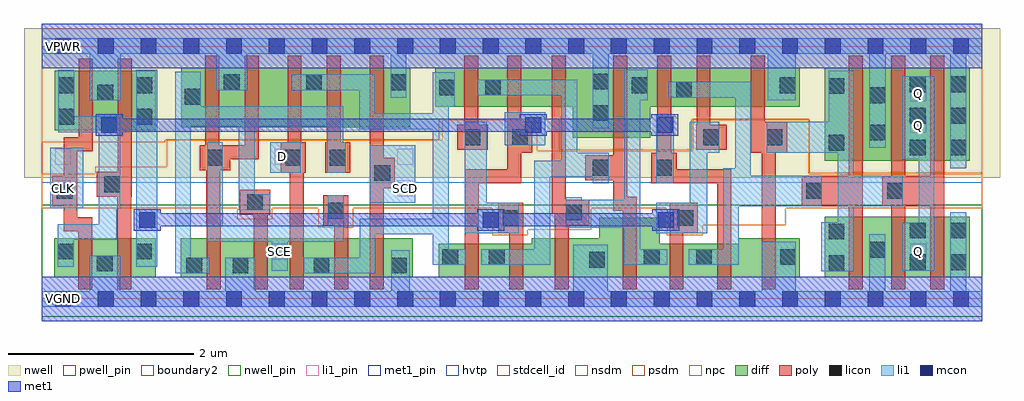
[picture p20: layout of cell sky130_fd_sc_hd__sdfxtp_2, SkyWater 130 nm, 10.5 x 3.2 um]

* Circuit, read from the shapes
.subckt sky130_fd_sc_hd__sdfxtp_2 CLK D Q SCD SCE VGND VNB VPB VPWR
XM1 VGND CLK n1 VNB sky130_fd_pr__nfet_01v8 w=0.42 l=0.15
XM2 n2 n1 VGND VNB sky130_fd_pr__nfet_01v8 w=0.42 l=0.15
XM3 VGND SCE n3 VNB sky130_fd_pr__nfet_01v8 w=0.42 l=0.15
XM4 n4 n3 VGND VNB sky130_fd_pr__nfet_01v8 w=0.42 l=0.15
XM5 n5 D n4 VNB sky130_fd_pr__nfet_01v8 w=0.42 l=0.15
XM6 n6 SCE n5 VNB sky130_fd_pr__nfet_01v8 w=0.42 l=0.15
XM7 VGND SCD n6 VNB sky130_fd_pr__nfet_01v8 w=0.42 l=0.15
XM8 n7 n1 n5 VNB sky130_fd_pr__nfet_01v8 w=0.36 l=0.15
XM9 n8 n2 n7 VNB sky130_fd_pr__nfet_01v8 w=0.36 l=0.15
XM10 VGND n9 n8 VNB sky130_fd_pr__nfet_01v8 w=0.42 l=0.15
XM11 n9 n7 VGND VNB sky130_fd_pr__nfet_01v8 w=0.64 l=0.15
XM12 n10 n2 n9 VNB sky130_fd_pr__nfet_01v8 w=0.36 l=0.15
XM13 n11 n1 n10 VNB sky130_fd_pr__nfet_01v8 w=0.36 l=0.15
XM14 VGND n12 n11 VNB sky130_fd_pr__nfet_01v8 w=0.42 l=0.15
XM15 VGND n10 n12 VNB sky130_fd_pr__nfet_01v8 w=0.65 l=0.15
XM16 Q n12 VGND VNB sky130_fd_pr__nfet_01v8 w=0.65 l=0.15 m=2
XM17 VPWR CLK n1 VPB sky130_fd_pr__pfet_01v8_hvt w=0.64 l=0.15
XM18 n2 n1 VPWR VPB sky130_fd_pr__pfet_01v8_hvt w=0.64 l=0.15
XM19 VPWR SCE n3 VPB sky130_fd_pr__pfet_01v8_hvt w=0.64 l=0.15
XM20 n13 SCE VPWR VPB sky130_fd_pr__pfet_01v8_hvt w=0.64 l=0.15
XM21 n5 D n13 VPB sky130_fd_pr__pfet_01v8_hvt w=0.64 l=0.15
XM22 n14 n3 n5 VPB sky130_fd_pr__pfet_01v8_hvt w=0.64 l=0.15
XM23 VPWR SCD n14 VPB sky130_fd_pr__pfet_01v8_hvt w=0.64 l=0.15
XM24 n7 n2 n5 VPB sky130_fd_pr__pfet_01v8_hvt w=0.42 l=0.15
XM25 n15 n1 n7 VPB sky130_fd_pr__pfet_01v8_hvt w=0.42 l=0.15
XM26 VPWR n9 n15 VPB sky130_fd_pr__pfet_01v8_hvt w=0.42 l=0.15
XM27 n9 n7 VPWR VPB sky130_fd_pr__pfet_01v8_hvt w=0.75 l=0.15
XM28 n10 n1 n9 VPB sky130_fd_pr__pfet_01v8_hvt w=0.42 l=0.15
XM29 n16 n2 n10 VPB sky130_fd_pr__pfet_01v8_hvt w=0.42 l=0.15
XM30 VPWR n12 n16 VPB sky130_fd_pr__pfet_01v8_hvt w=0.42 l=0.15
XM31 VPWR n10 n12 VPB sky130_fd_pr__pfet_01v8_hvt w=1 l=0.15
XM32 Q n12 VPWR VPB sky130_fd_pr__pfet_01v8_hvt w=1 l=0.15 m=2
.ends

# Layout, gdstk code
import gdstk
lib = gdstk.Library(unit=1e-6, precision=1e-09)
def R(c, l, rs):  # rectangles x0, y0, x1, y1
    for r in rs: c.add(gdstk.rectangle(r[:2], r[2:], *l))
def A(c, l, x, y, w, h, nx, ny, dx, dy):  # array of equal rectangles
    R(c, l, [(x+i*dx, y+j*dy, x+i*dx+w, y+j*dy+h) for i in range(nx) for j in range(ny)])
def P(c, l, *ps):  # polygons
    for p in ps: c.add(gdstk.Polygon(p, *l))
nwell_pin = (64, 16)
nwell = (64, 20)
diff = (65, 20)
poly = (66, 20)
licon = (66, 44)
li1_pin = (67, 16)
li1 = (67, 20)
mcon = (67, 44)
met1_pin = (68, 16)
met1 = (68, 20)
hvtp = (78, 44)
stdcell_id = (81, 4)
nsdm = (93, 44)
psdm = (94, 20)
npc = (95, 20)
pwell_pin = (122, 16)
boundary2 = (236, 0)

sky130_fd_sc_hd__sdfxtp_ = lib.new_cell('sky130_fd_sc_hd__sdfxtp_2')
R(sky130_fd_sc_hd__sdfxtp_, nwell_pin, [(0.145,2.635,0.315,2.805), (0.145,2.635,0.315,2.805)])
R(sky130_fd_sc_hd__sdfxtp_, nwell, [(-0.19,1.305,10.31,2.91)])
R(sky130_fd_sc_hd__sdfxtp_, diff, [(0.135,0.235,1.225,0.655), (1.495,0.235,3.99,0.655), (8.425,0.235,9.985,0.885), (8.425,1.485,9.985,2.485), (0.14,1.815,1.23,2.455), (1.5,1.845,3.965,2.485)])
P(sky130_fd_sc_hd__sdfxtp_, diff, [(8.155,2.485),(4.235,2.485),(4.235,2.065),(5.715,2.065),(5.715,1.735),(6.55,1.735),(6.55,2.065),(8.155,2.065)],
  [(8.155,0.655),(7.495,0.655),(7.495,0.595),(6.65,0.595),(6.65,0.875),(6,0.875),(6,0.655),(5.27,0.655),(5.27,0.595),(4.27,0.595),(4.27,0.235),(8.155,0.235)])
P(sky130_fd_sc_hd__sdfxtp_, poly, [(0.55,2.585),(0.4,2.585),(0.4,1.74),(0.235,1.74),(0.235,1.325),(0.115,1.325),(0.115,0.995),(0.235,0.995),(0.235,0.73),(0.395,0.73),(0.395,0.105),(0.545,0.105),(0.545,0.88),(0.385,0.88),(0.385,1.59),(0.55,1.59)],
  [(0.97,2.585),(0.82,2.585),(0.82,1.37),(0.595,1.37),(0.595,1.1),(0.815,1.1),(0.815,0.105),(0.965,0.105),(0.965,1.1),(0.97,1.1)],
  [(2.335,2.615),(2.185,2.615),(2.185,1.655),(1.91,1.655),(1.91,2.615),(1.76,2.615),(1.76,1.655),(1.7,1.655),(1.7,1.385),(1.77,1.385),(1.77,0.785),(1.775,0.785),(1.775,0.105),(1.925,0.105),(1.925,0.83),(1.92,0.83),(1.92,1.385),(2.03,1.385),(2.03,1.505),(2.335,1.505)],
  [(2.46,1.175),(2.13,1.175),(2.13,0.905),(2.28,0.905),(2.28,0.105),(2.43,0.105),(2.43,0.905),(2.46,0.905)],
  [(2.84,1.685),(2.795,1.685),(2.795,2.615),(2.645,2.615),(2.645,1.685),(2.57,1.685),(2.57,1.355),(2.67,1.355),(2.67,0.105),(2.82,0.105),(2.82,1.355),(2.84,1.355)],
  [(3.3,1.115),(3.03,1.115),(3.03,0.785),(3.15,0.785),(3.15,0.105),(3.3,0.105)],
  [(3.32,1.685),(3.215,1.685),(3.215,2.615),(3.065,2.615),(3.065,1.685),(3.05,1.685),(3.05,1.355),(3.32,1.355)],
  [(3.8,1.52),(3.68,1.52),(3.68,2.615),(3.53,2.615),(3.53,0.105),(3.68,0.105),(3.68,1.19),(3.8,1.19)],
  [(4.8,1.875),(4.695,1.875),(4.695,2.615),(4.545,2.615),(4.545,1.875),(4.47,1.875),(4.47,1.605),(4.8,1.605)],
  [(5.18,1.035),(4.91,1.035),(4.91,0.705),(5.03,0.705),(5.03,0.105),(5.18,0.105)],
  [(5.28,1.905),(5.16,1.905),(5.16,2.615),(5.01,2.615),(5.01,1.395),(4.55,1.395),(4.55,0.105),(4.7,0.105),(4.7,1.245),(5.16,1.245),(5.16,1.575),(5.28,1.575)],
  [(5.89,1.065),(5.64,1.065),(5.64,2.615),(5.49,2.615),(5.49,0.915),(5.52,0.915),(5.52,0.105),(5.67,0.105),(5.67,0.795),(5.89,0.795)],
  [(6.4,1.1),(6.3,1.1),(6.3,2.615),(6.15,2.615),(6.15,1.545),(5.85,1.545),(5.85,1.275),(6.15,1.275),(6.15,0.95),(6.25,0.95),(6.25,0.105),(6.4,0.105)],
  [(7.06,1.035),(6.755,1.035),(6.755,0.105),(6.905,0.105),(6.905,0.705),(7.06,0.705)],
  [(7.37,1.875),(7.195,1.875),(7.195,2.615),(7.045,2.615),(7.045,1.875),(7.04,1.875),(7.04,1.605),(7.37,1.605)],
  [(8.835,2.615),(8.685,2.615),(8.685,1.325),(8.175,1.325),(8.175,0.995),(8.685,0.995),(8.685,0.105),(8.835,0.105)],
  [(7.42,1.395),(6.83,1.395),(6.83,1.575),(6.775,1.575),(6.775,2.615),(6.625,2.615),(6.625,1.575),(6.56,1.575),(6.56,1.245),(7.27,1.245),(7.27,0.105),(7.42,0.105)],
  [(8.02,1.905),(7.78,1.905),(7.78,2.615),(7.63,2.615),(7.63,1.575),(7.745,1.575),(7.745,0.105),(7.895,0.105),(7.895,1.575),(8.02,1.575)],
  [(9.71,2.615),(9.56,2.615),(9.56,1.325),(9.29,1.325),(9.29,2.615),(9.14,2.615),(9.14,1.325),(9.045,1.325),(9.045,0.995),(9.14,0.995),(9.14,0.105),(9.29,0.105),(9.29,0.995),(9.56,0.995),(9.56,0.105),(9.71,0.105)])
A(sky130_fd_sc_hd__sdfxtp_, licon, 9.34, 1.545, 0.17, 0.17, 1, 3, 0, 0.34)
A(sky130_fd_sc_hd__sdfxtp_, licon, 9.775, 1.545, 0.17, 0.17, 1, 3, 0, 0.34)
R(sky130_fd_sc_hd__sdfxtp_, licon, [(1.555,0.275,1.725,0.445), (2.055,0.275,2.225,0.445), (2.925,0.275,3.095,0.445), (3.76,0.275,3.93,0.445), (0.595,0.295,0.765,0.465), (8.465,0.3,8.635,0.47), (9.34,0.31,9.51,0.48), (9.775,0.31,9.945,0.48), (5.89,0.335,6.06,0.505), (4.31,0.365,4.48,0.535), (4.81,0.365,4.98,0.535), (6.48,0.365,6.65,0.535), (7.04,0.365,7.21,0.535), (7.945,0.365,8.115,0.535), (0.175,0.425,0.345,0.595), (1.015,0.425,1.185,0.595), (8.905,0.445,9.075,0.615), (8.465,0.64,8.635,0.81), (9.34,0.65,9.51,0.82), (9.775,0.65,9.945,0.82), (4.96,0.785,5.13,0.955), (6.84,0.785,7.01,0.955), (5.64,0.845,5.81,1.015), (3.08,0.865,3.25,1.035), (2.21,0.955,2.38,1.125), (0.165,1.075,0.335,1.245), (8.225,1.075,8.395,1.245), (9.095,1.075,9.265,1.245), (0.675,1.15,0.845,1.32), (3.58,1.27,3.75,1.44), (5.93,1.325,6.1,1.495), (6.61,1.325,6.78,1.495), (1.78,1.435,1.95,1.605), (2.62,1.435,2.79,1.605), (3.1,1.435,3.27,1.605), (8.465,1.595,8.635,1.765), (4.55,1.655,4.72,1.825), (5.06,1.655,5.23,1.825), (7.12,1.655,7.29,1.825), (7.8,1.655,7.97,1.825), (8.905,1.705,9.075,1.875), (0.18,1.875,0.35,2.045), (1.02,1.875,1.19,2.045), (5.93,1.915,6.1,2.085), (1.54,2.09,1.71,2.26), (8.905,2.105,9.075,2.275), (0.6,2.135,0.77,2.305), (6.825,2.165,6.995,2.335), (4.275,2.19,4.445,2.36), (4.77,2.19,4.94,2.36), (8.465,2.205,8.635,2.375), (0.18,2.215,0.35,2.385), (1.02,2.215,1.19,2.385), (6.35,2.215,6.52,2.385), (7.94,2.215,8.11,2.385), (1.96,2.245,2.13,2.415), (2.845,2.245,3.015,2.415), (3.755,2.245,3.925,2.415), (5.93,2.255,6.1,2.425)])
R(sky130_fd_sc_hd__sdfxtp_, li1_pin, [(2.475,0.425,2.645,0.595), (9.345,0.425,9.515,0.595), (0.145,1.105,0.315,1.275), (3.825,1.105,3.995,1.275), (0.145,1.445,0.315,1.615), (2.505,1.445,2.675,1.615), (3.825,1.445,3.995,1.615), (9.345,1.785,9.515,1.955), (9.345,2.125,9.515,2.295)])
R(sky130_fd_sc_hd__sdfxtp_, li1, [(0.095,0.975,0.445,1.625), (3.53,1.035,4.02,1.655), (6.61,1.245,6.8,1.965), (2.46,1.355,2.79,1.685), (4.98,1.655,5.42,2.01)])
P(sky130_fd_sc_hd__sdfxtp_, li1, [(0.845,1.965),(0.35,1.965),(0.35,2.465),(0.18,2.465),(0.18,1.795),(0.615,1.795),(0.615,0.805),(0.175,0.805),(0.175,0.345),(0.345,0.345),(0.345,0.635),(0.81,0.635),(0.81,0.97),(0.845,0.97)],
  [(1.245,2.465),(1.02,2.465),(1.02,0.715),(1.015,0.715),(1.015,0.345),(1.245,0.345)],
  [(3.25,1.115),(3.08,1.115),(3.08,0.785),(1.95,0.785),(1.95,1.685),(1.78,1.685),(1.78,0.615),(2.475,0.615),(2.475,0.305),(2.65,0.305),(2.65,0.615),(3.25,0.615)],
  [(3.27,1.685),(3.245,1.685),(3.245,2.075),(1.71,2.075),(1.71,2.445),(1.435,2.445),(1.435,0.275),(1.805,0.275),(1.805,0.445),(1.605,0.445),(1.605,1.86),(2.12,1.86),(2.12,0.955),(2.46,0.955),(2.46,1.125),(2.29,1.125),(2.29,1.86),(3.075,1.86),(3.075,1.355),(3.27,1.355)],
  [(4.56,0.535),(4.38,0.535),(4.38,2.065),(4.445,2.065),(4.445,2.44),(4.21,2.44),(4.21,1.995),(3.585,1.995),(3.585,2.415),(2.69,2.415),(2.69,2.245),(3.415,2.245),(3.415,1.825),(4.21,1.825),(4.21,0.865),(3.42,0.865),(3.42,0.445),(2.82,0.445),(2.82,0.275),(3.59,0.275),(3.59,0.695),(4.21,0.695),(4.21,0.365),(4.56,0.365)],
  [(5.13,1.035),(4.79,1.035),(4.79,1.905),(4.55,1.905),(4.55,0.705),(5.13,0.705)],
  [(6.1,1.575),(5.76,1.575),(5.76,2.36),(4.69,2.36),(4.69,2.19),(5.59,2.19),(5.59,1.485),(5.3,1.485),(5.3,0.535),(4.73,0.535),(4.73,0.365),(5.47,0.365),(5.47,1.315),(5.93,1.315),(5.93,1.245),(6.1,1.245)],
  [(6.73,0.535),(6.44,0.535),(6.44,2.135),(6.52,2.135),(6.52,2.465),(6.27,2.465),(6.27,1.065),(5.81,1.065),(5.81,1.095),(5.64,1.095),(5.64,0.765),(6.27,0.765),(6.27,0.365),(6.73,0.365)],
  [(7.29,1.905),(6.97,1.905),(6.97,1.035),(6.61,1.035),(6.61,0.705),(7.16,0.705),(7.16,1.575),(7.29,1.575)],
  [(8.395,1.325),(7.63,1.325),(7.63,2.335),(6.745,2.335),(6.745,2.165),(7.46,2.165),(7.46,1.405),(7.33,1.405),(7.33,0.535),(6.96,0.535),(6.96,0.365),(7.5,0.365),(7.5,0.995),(8.395,0.995)],
  [(9.265,1.325),(8.735,1.325),(8.735,2.455),(8.465,2.455),(8.465,1.905),(7.8,1.905),(7.8,1.575),(8.565,1.575),(8.565,0.825),(8.385,0.825),(8.385,0.3),(8.735,0.3),(8.735,0.995),(9.265,0.995)],
  [(9.605,2.395),(9.26,2.395),(9.26,1.505),(9.435,1.505),(9.435,0.82),(9.26,0.82),(9.26,0.305),(9.605,0.305)],
  [(10.12,2.805),(0,2.805),(0,2.635),(0.52,2.635),(0.52,2.135),(0.85,2.135),(0.85,2.635),(1.88,2.635),(1.88,2.245),(2.21,2.245),(2.21,2.635),(3.755,2.635),(3.755,2.165),(3.925,2.165),(3.925,2.635),(5.93,2.635),(5.93,1.835),(6.1,1.835),(6.1,2.635),(7.81,2.635),(7.81,2.135),(8.115,2.135),(8.115,2.635),(8.905,2.635),(8.905,1.625),(9.08,1.625),(9.08,2.635),(9.775,2.635),(9.775,1.405),(9.945,1.405),(9.945,2.635),(10.12,2.635)],
  [(10.12,0.085),(9.945,0.085),(9.945,0.93),(9.775,0.93),(9.775,0.085),(9.075,0.085),(9.075,0.695),(8.905,0.695),(8.905,0.085),(8.115,0.085),(8.115,0.615),(7.745,0.615),(7.745,0.085),(6.09,0.085),(6.09,0.585),(5.72,0.585),(5.72,0.085),(3.96,0.085),(3.96,0.525),(3.76,0.525),(3.76,0.085),(2.305,0.085),(2.305,0.445),(1.975,0.445),(1.975,0.085),(0.845,0.085),(0.845,0.465),(0.515,0.465),(0.515,0.085),(0,0.085),(0,-0.085),(10.12,-0.085)])
A(sky130_fd_sc_hd__sdfxtp_, mcon, 0.145, -0.085, 0.17, 0.17, 22, 2, 0.46, 2.72)
R(sky130_fd_sc_hd__sdfxtp_, mcon, [(1.05,0.765,1.22,0.935), (4.745,0.765,4.915,0.935), (6.63,0.765,6.8,0.935), (0.64,1.785,0.81,1.955), (5.205,1.785,5.375,1.955), (6.62,1.785,6.79,1.955)])
R(sky130_fd_sc_hd__sdfxtp_, met1_pin, [(0.145,-0.085,0.315,0.085), (0.145,2.635,0.315,2.805)])
P(sky130_fd_sc_hd__sdfxtp_, met1, [(6.86,0.965),(6.57,0.965),(6.57,0.92),(4.975,0.92),(4.975,0.965),(4.685,0.965),(4.685,0.92),(1.28,0.92),(1.28,0.965),(0.99,0.965),(0.99,0.735),(1.28,0.735),(1.28,0.78),(4.685,0.78),(4.685,0.735),(4.975,0.735),(4.975,0.78),(6.57,0.78),(6.57,0.735),(6.86,0.735)],
  [(6.85,1.985),(6.56,1.985),(6.56,1.94),(5.435,1.94),(5.435,1.985),(5.145,1.985),(5.145,1.94),(0.87,1.94),(0.87,1.985),(0.58,1.985),(0.58,1.755),(0.87,1.755),(0.87,1.8),(5.145,1.8),(5.145,1.755),(5.435,1.755),(5.435,1.8),(6.56,1.8),(6.56,1.755),(6.85,1.755)])
R(sky130_fd_sc_hd__sdfxtp_, hvtp, [(0,1.25,10.12,2.72)])
R(sky130_fd_sc_hd__sdfxtp_, stdcell_id, [(0,0,10.12,2.72)])
R(sky130_fd_sc_hd__sdfxtp_, nsdm, [(0,-0.19,10.12,1.015)])
P(sky130_fd_sc_hd__sdfxtp_, psdm, [(10.12,2.91),(0,2.91),(0,1.685),(1.33,1.685),(1.33,1.715),(4.28,1.715),(4.28,1.935),(5.57,1.935),(5.57,1.605),(6.995,1.605),(6.995,1.935),(8.26,1.935),(8.26,1.355),(10.12,1.355)])
P(sky130_fd_sc_hd__sdfxtp_, npc, [(10.12,1.345),(8.25,1.345),(8.25,1.925),(7.005,1.925),(7.005,1.595),(5.33,1.595),(5.33,1.925),(4.31,1.925),(4.31,1.705),(1.345,1.705),(1.345,1.42),(0.575,1.42),(0.575,1.345),(0,1.345),(0,0.975),(2.105,0.975),(2.105,0.855),(2.48,0.855),(2.48,0.975),(2.975,0.975),(2.975,0.765),(3.35,0.765),(3.35,0.975),(4.845,0.975),(4.845,0.685),(5.23,0.685),(5.23,0.745),(5.91,0.745),(5.91,0.975),(6.725,0.975),(6.725,0.685),(7.11,0.685),(7.11,0.795),(8.005,0.795),(8.005,0.975),(10.12,0.975)])
R(sky130_fd_sc_hd__sdfxtp_, pwell_pin, [(0.145,-0.085,0.315,0.085), (0.145,-0.085,0.315,0.085)])
R(sky130_fd_sc_hd__sdfxtp_, boundary2, [(0,0,10.12,2.72)])
sky130_fd_sc_hd__sdfxtp_.add(gdstk.FlexPath([(0,2.72),(10.12,2.72)], 0.48, ends="flush", simple_path=True, layer=68, datatype=20))  # met1
sky130_fd_sc_hd__sdfxtp_.add(gdstk.FlexPath([(0,0),(10.12,0)], 0.48, ends="flush", simple_path=True, layer=68, datatype=20))  # met1
sky130_fd_sc_hd__sdfxtp_.add(gdstk.Label('VGND', (0.23,0), layer=68, texttype=5))
sky130_fd_sc_hd__sdfxtp_.add(gdstk.Label('VPWR', (0.23,2.72), layer=68, texttype=5))
sky130_fd_sc_hd__sdfxtp_.add(gdstk.Label('SCD', (3.91,1.19), layer=67, texttype=5))
sky130_fd_sc_hd__sdfxtp_.add(gdstk.Label('D', (2.59,1.53), layer=67, texttype=5))
sky130_fd_sc_hd__sdfxtp_.add(gdstk.Label('SCE', (2.56,0.51), layer=67, texttype=5))
sky130_fd_sc_hd__sdfxtp_.add(gdstk.Label('CLK', (0.23,1.19), layer=67, texttype=5))
sky130_fd_sc_hd__sdfxtp_.add(gdstk.Label('Q', (9.43,0.51), layer=67, texttype=5))
sky130_fd_sc_hd__sdfxtp_.add(gdstk.Label('Q', (9.43,1.87), layer=67, texttype=5))
sky130_fd_sc_hd__sdfxtp_.add(gdstk.Label('Q', (9.43,2.21), layer=67, texttype=5))
sky130_fd_sc_hd__sdfxtp_.add(gdstk.Label('VNB', (0.23,0), layer=64, texttype=59))
sky130_fd_sc_hd__sdfxtp_.add(gdstk.Label('VNB', (0.23,0), layer=64, texttype=59))
sky130_fd_sc_hd__sdfxtp_.add(gdstk.Label('VPB', (0.23,2.72), layer=64, texttype=5))
sky130_fd_sc_hd__sdfxtp_.add(gdstk.Label('VPB', (0.23,2.72), layer=64, texttype=5))
sky130_fd_sc_hd__sdfxtp_.add(gdstk.Label('sdfxtp_2', (0,0), layer=83, texttype=44))

lib.write_gds('sky130_fd_sc_hd__sdfxtp_2.gds')
